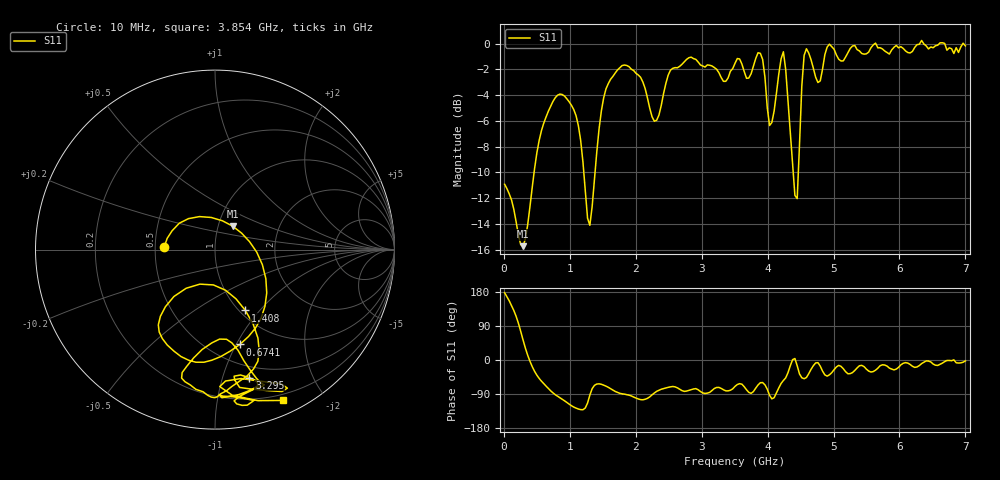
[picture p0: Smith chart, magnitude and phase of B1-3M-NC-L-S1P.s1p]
!File created by NanoVNA
# Hz S RI R 50
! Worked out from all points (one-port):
!   201 points, 10 MHz to 7 GHz, reference 50 ohm
!   lowest |S11| = -15.7 dB at 289.6 MHz (marker M1), VSWR 1.39, Z = 58.6 + j15.7 ohm
!   |S11| at or under -10 dB: start of sweep to 457.5 MHz; 1.211 GHz to 1.382 GHz (170.6 MHz wide, 13.2 % of centre); 4.387 GHz to 4.466 GHz (78.54 MHz wide, 1.77 % of centre)
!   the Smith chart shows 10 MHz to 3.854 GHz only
!   S11 on the Smith chart (normalised r, x): 10 MHz: 0.56, +0.01; 674 MHz: 0.69, -1.03; 1.408 GHz: 1.06, -0.84; 3.295 GHz: 0.39, -1.23; 3.854 GHz: 0.14, -1.53
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1e7  -0.2841 0.0123
2.896e8  0.0985 0.1305
6.7405e8  0.1386 -0.5284
8.8375e8  -0.1455 -0.617
1.1284e9  -0.3045 -0.3721
1.30315e9  -0.00913 -0.1968
1.408e9  0.1692 -0.3388
1.7575e9  0.029 -0.8045
2.107e9  -0.1831 -0.6852
2.63125e9  0.229 -0.7718
3.2953e9  0.1914 -0.7131
3.505e9  0.2914 -0.7855
3.74965e9  0.0265 -0.7631
3.8545e9  0.3761 -0.8404
3.9244e9  0.4387 -0.7479
4.0642e9  -0.1072 -0.4822
4.23895e9  0.5452 -0.7521
4.37875e9  0.337 0.00554
4.44865e9  0.2414 -0.0655
4.5535e9  0.5855 -0.6825
4.7632e9  0.7003 -0.0866
4.903e9  0.7139 -0.6552
5.07775e9  0.8427 -0.214
5.2525e9  0.7739 -0.5617
5.42725e9  0.8868 -0.2249
5.56705e9  0.8186 -0.5068
6.12625e9  0.9134 -0.1305
7e9  0.9787 -0.0386
